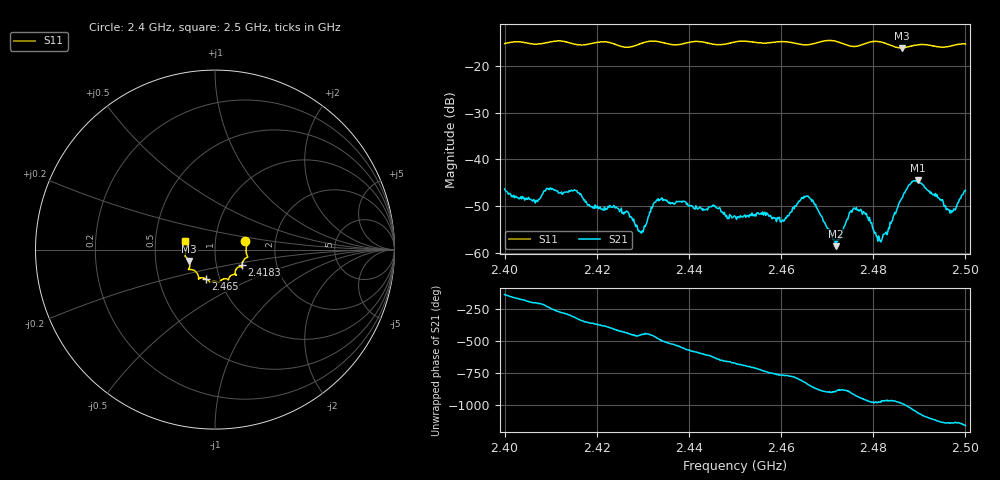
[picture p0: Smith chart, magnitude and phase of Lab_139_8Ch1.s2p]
# Hz S RI R 50
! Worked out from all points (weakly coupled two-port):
!   601 points, 2.4 GHz to 2.5 GHz, reference 50 ohm
!   highest |S21| = -44.47 dB at 2.4897 GHz (marker M1); lowest = -58.6 dB at 2.4718 GHz (marker M2)
!   lowest |S11| = -16.1 dB at 2.4862 GHz (marker M3), VSWR 1.37, Z = 37.1 - j4.79 ohm
!   |S11| at or under -10 dB: start of sweep to end of sweep
!   S12 and S22 are empty: the file has one direction only
!   S11 on the Smith chart (normalised r, x): 2.4 GHz: 1.40, +0.13; 2.4183 GHz: 1.33, -0.24; 2.465 GHz: 0.86, -0.29; 2.5 GHz: 0.71, +0.07
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2.4e9  0.1693 0.0458  -0.0034 -0.00343  0 0  0 0
2.406667e9  0.1723 0.00114  -0.00324 0.00109  0 0  0 0
2.4095e9  0.1779 -0.0317  -0.00288 0.00393  0 0  0 0
2.416667e9  0.1547 -0.0679  0.00386 0.0014  0 0  0 0
2.418333e9  0.1499 -0.087  0.00327 0.000257  0 0  0 0
2.4265e9  0.1214 -0.104  0.000633 -0.00274  0 0  0 0
2.4295e9  0.113 -0.1335  -0.000103 -0.00167  0 0  0 0
2.433333e9  0.1177 -0.1411  -0.00205 -0.0032  0 0  0 0
2.445333e9  0.0594 -0.1617  -8.44e-05 0.00324  0 0  0 0
2.45e9  0.0251 -0.1808  0.00172 0.00176  0 0  0 0
2.460333e9  -0.0283 -0.1816  0.00146 -0.00173  0 0  0 0
2.465e9  -0.0525 -0.1617  -0.000857 -0.00394  0 0  0 0
2.466667e9  -0.0715 -0.1571  -0.0027 -0.00232  0 0  0 0
2.471833e9  -0.0912 -0.1619  -0.00118 -2.42e-05  0 0  0 0
2.476e9  -0.11 -0.12  -0.0027 0.00125  0 0  0 0
2.478333e9  -0.1365 -0.1108  -0.00107 0.00234  0 0  0 0
2.481333e9  -0.1473 -0.1094  -0.000222 0.0014  0 0  0 0
2.483333e9  -0.1414 -0.0965  -0.000678 0.00171  0 0  0 0
2.486167e9  -0.1442 -0.0629  5.44e-05 0.00381  0 0  0 0
2.489667e9  -0.1656 -0.0386  0.00579 0.00148  0 0  0 0
2.496833e9  -0.1627 0.026  0.00116 -0.00259  0 0  0 0
2.5e9  -0.1672 0.0468  0.000416 -0.00463  0 0  0 0
